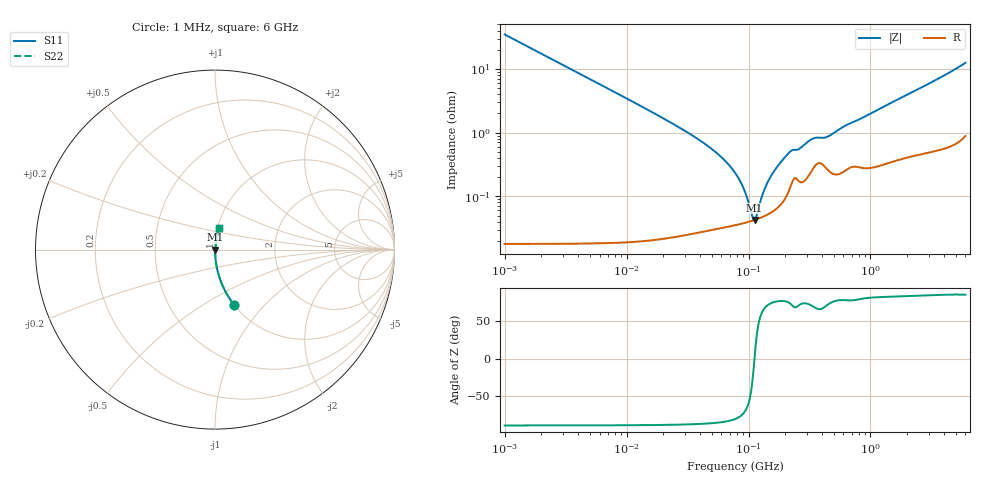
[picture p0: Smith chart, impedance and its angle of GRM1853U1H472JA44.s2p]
!Murata Part Number: GRM1853U1H472JA44
!These Parameters are Measured in Series Mode Connection
!Data Generated on Mar 30, 2021
!  o--ll--o
!Port1  Port2
!  o------o
!Operation Temp=25[degC], DC Bias Voltage=0[V]
!Freq. Start=1000[kHz] Stop=6[GHz] 401[Steps]
# Hz S RI R 50
!Freq.(Hz) S11(Real) S11(Imag) S21(Real) S21(Imag) S12(Real) S12(Imag) S22(Real) S22(Imag)
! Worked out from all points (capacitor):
!   401 points, 1 MHz to 6 GHz, reference 50 ohm
!   read as one part in series: C = 4.58 nF near 1.044 MHz
!   lowest |Z| = 42.5 mohm at 112.1 MHz (marker M1)
!   series resonance near 111.9 MHz, so ESL is about 440 pH
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1000000  0.1078 -0.3098  0.8922 0.3098  0.8922 0.3098  0.1078 -0.3098
2049734  0.0281 -0.1646  0.9719 0.1646  0.9719 0.1646  0.0281 -0.1646
4293785  0.00666 -0.0802  0.9933 0.0802  0.9933 0.0802  0.00666 -0.0802
1.843659e7  0.000544 -0.0183  0.9995 0.0183  0.9995 0.0183  0.000544 -0.0183
4.697123e7  0.000325 -0.00605  0.9997 0.00605  0.9997 0.00605  0.000325 -0.00605
6.23192e7  0.000336 -0.00382  0.9997 0.00382  0.9997 0.00382  0.000336 -0.00382
7.745967e7  0.000357 -0.00232  0.9996 0.00232  0.9996 0.00232  0.000357 -0.00232
9.019724e7  0.000378 -0.00134  0.9996 0.00134  0.9996 0.00134  0.000378 -0.00134
9.627852e7  0.00039 -0.000935  0.9996 0.000935  0.9996 0.000935  0.00039 -0.000935
1.073387e8  0.000414 -0.000259  0.9996 0.000259  0.9996 0.000259  0.000414 -0.000259
1.121107e8  0.000425 1.12e-05  0.9996 -1.12e-05  0.9996 -1.12e-05  0.000425 1.12e-05
1.170949e8  0.000437 0.000282  0.9996 -0.000282  0.9996 -0.000282  0.000437 0.000282
1.277378e8  0.000467 0.00083  0.9995 -0.00083  0.9995 -0.00083  0.000467 0.00083
1.39348e8  0.000505 0.00139  0.9995 -0.00139  0.9995 -0.00139  0.000505 0.00139
1.694764e8  0.000645 0.00274  0.9994 -0.00274  0.9994 -0.00274  0.000645 0.00274
2.200158e8  0.00141 0.00483  0.9986 -0.00483  0.9986 -0.00483  0.00141 0.00483
2.618284e8  0.00172 0.00531  0.9983 -0.00531  0.9983 -0.00531  0.00172 0.00531
3.325952e8  0.00264 0.00747  0.9974 -0.00747  0.9974 -0.00747  0.00264 0.00747
4.509737e8  0.00261 0.00834  0.9974 -0.00834  0.9974 -0.00834  0.00261 0.00834
6.249308e8  0.0027 0.0126  0.9973 -0.0126  0.9973 -0.0126  0.0027 0.0126
1.428092e9  0.00414 0.0281  0.9959 -0.0281  0.9959 -0.0281  0.00414 0.0281
6e9  0.0236 0.1205  0.9764 -0.1205  0.9764 -0.1205  0.0236 0.1205
